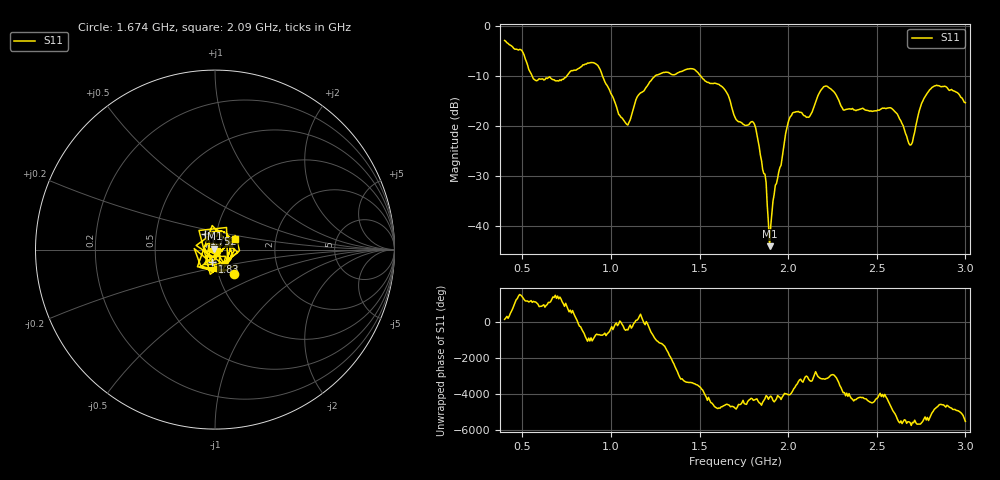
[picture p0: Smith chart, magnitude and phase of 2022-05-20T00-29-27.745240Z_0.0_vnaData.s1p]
!Created with skrf (http://scikit-rf.org).
# Hz S RI R 50.0
!freq ReS11 ImS11
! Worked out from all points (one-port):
!   401 points, 400 MHz to 3 GHz, reference 50 ohm
!   lowest |S11| = -44.1 dB at 1.895 GHz (marker M1), VSWR 1.01, Z = 49.7 + j0.554 ohm
!   |S11| at or under -10 dB: 555.2 MHz to 750.7 MHz (195.6 MHz wide, 30 % of centre); 952.4 MHz to 1.249 GHz (296.7 MHz wide, 27 % of centre); 1.507 GHz to end of sweep
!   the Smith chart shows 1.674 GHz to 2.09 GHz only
!   S11 on the Smith chart (normalised r, x): 1.674 GHz: 1.19, -0.34; 1.752 GHz: 0.88, +0.15; 1.83 GHz: 0.96, -0.13; 2.09 GHz: 1.24, +0.15
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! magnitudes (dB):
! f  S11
! 400 MHz  -2.9
! 497.5 MHz  -4.9
! 569 MHz  -10.7
! 725 MHz  -10.7
! 913.5 MHz  -7.5
! 1.05 GHz  -17.9
! 1.095 GHz  -19.8
! 1.245 GHz  -10.2
! 1.375 GHz  -9.4
! 1.472 GHz  -8.7
! 1.674 GHz  -15.2
! 1.7 GHz  -18.3
! 1.752 GHz  -19.8
! 1.804 GHz  -19.3
! 1.83 GHz  -23.0
! 1.863 GHz  -29.5
! 1.895 GHz  -44.1
! 1.992 GHz  -20.4
! 2.025 GHz  -17.4
! 2.09 GHz  -18.0
! 2.213 GHz  -12.0
! 2.35 GHz  -16.6
! 2.584 GHz  -16.5
! 2.675 GHz  -22.9
! 2.701 GHz  -23.3
! 2.753 GHz  -15.5
! 2.818 GHz  -12.2
! 3 GHz  -15.3
